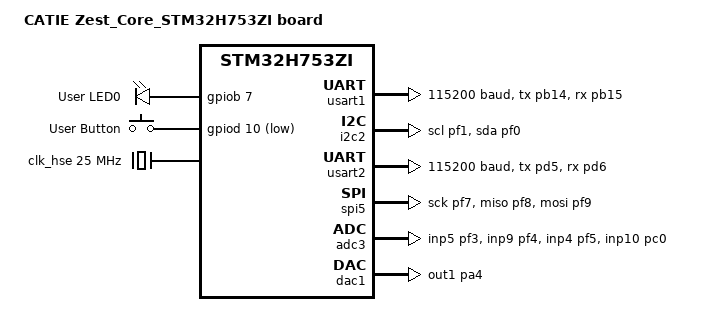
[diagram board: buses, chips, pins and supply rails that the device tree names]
/*
 * Copyright (c) 2024 CATIE
 * SPDX-License-Identifier: Apache-2.0
 */

/dts-v1/;
#include <st/h7/stm32h753Xi.dtsi>
#include <st/h7/stm32h753zitx-pinctrl.dtsi>
#include "sixtron_connector.dtsi"

/ {
	model = "CATIE Zest_Core_STM32H753ZI board";
	compatible = "catie,zest-core-stm32h753zi";

	chosen {
		zephyr,console = &usart1;
		zephyr,shell-uart = &usart1;
		zephyr,sram = &sram0;
		zephyr,flash = &flash0;
	};

	leds {
		compatible = "gpio-leds";
		led_0: led_0 {
			gpios = <&gpiob 7 GPIO_ACTIVE_HIGH>;
			label = "User LED0";
		};
	};

	gpio_keys {
		compatible = "gpio-keys";
		user_button: button {
			label = "User Button";
			gpios = <&gpiod 10 GPIO_ACTIVE_LOW>;
		};
	};

	aliases {
		led0 = &led_0;
		sw0 = &user_button;
	};
};

&clk_hsi48 {
	status = "okay";
};

&clk_hse {
	hse-bypass;
	clock-frequency = <DT_FREQ_M(25)>;
	status = "okay";
};

&pll {
	div-m = <5>;
	mul-n = <192>;
	div-p = <2>;
	div-q = <2>;
	div-r = <2>;
	clocks = <&clk_hse>;
	status = "okay";
};

&rcc {
	clocks = <&pll>;
	clock-frequency = <DT_FREQ_M(480)>;
	d1cpre = <1>;
	hpre = <2>;
	d1ppre = <2>;
	d2ppre1 = <2>;
	d2ppre2 = <2>;
	d3ppre = <2>;
};

&usart1 {
	pinctrl-0 = <&usart1_tx_pb14 &usart1_rx_pb15>;
	pinctrl-names = "default";
	current-speed = <115200>;
	status = "okay";
};

&i2c2 {
	pinctrl-0 = <&i2c2_scl_pf1 &i2c2_sda_pf0>;
	pinctrl-names = "default";
	status = "okay";
};

&usart2 {
	pinctrl-0 = <&usart2_tx_pd5 &usart2_rx_pd6>;
	pinctrl-names = "default";
	current-speed = <115200>;
	status = "okay";
};

&spi5 {
	pinctrl-0 = <&spi5_sck_pf7 &spi5_miso_pf8 &spi5_mosi_pf9>;
	pinctrl-names = "default";
	cs-gpios = <&gpiof 6 GPIO_ACTIVE_LOW>;
	status = "okay";
};

&adc3 {
	pinctrl-0 = <&adc3_inp5_pf3 &adc3_inp9_pf4 &adc3_inp4_pf5 &adc3_inp10_pc0>;
	pinctrl-names = "default";
	st,adc-clock-source = <SYNC>;
	st,adc-prescaler = <4>;
	status = "okay";
};

&dac1 {
	pinctrl-0 = <&dac1_out1_pa4>;
	pinctrl-names = "default";
	status = "okay";
};
